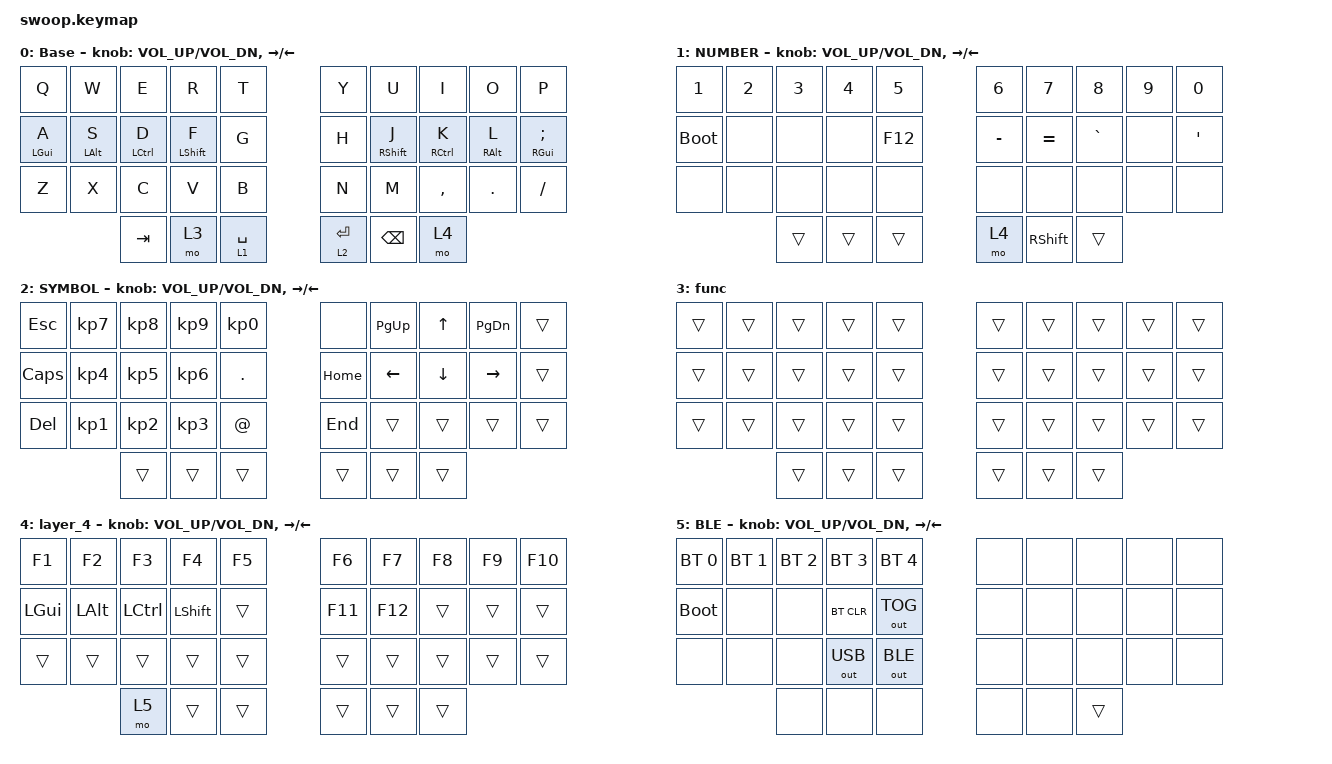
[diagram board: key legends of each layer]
/*
 * Copyright (c) 2020 duckyb
 *
 * SPDX-License-Identifier: MIT
 */

#include <behaviors.dtsi>
#include <dt-bindings/zmk/bt.h>
#include <dt-bindings/zmk/keys.h>
#include <dt-bindings/zmk/outputs.h>

/ {
    behaviors {
        tab_esc_ctrl: tab_esc_ctrl {
            compatible = "zmk,behavior-tap-dance";
            label = "TAB_ESC_CTRL";
            #binding-cells = <0>;
            bindings = <&mt LCTRL ESC>, <&kp TAB>;
        };

        gqt: global-quick-tap {
            compatible = "zmk,behavior-hold-tap";
            label = "GLOBAL_QUICK_TAP";
            bindings = <&kp>, <&kp>;

            #binding-cells = <2>;
            quick-tap-ms = <180>;
            tapping-term-ms = <200>;
            global-quick-tap;
            flavor = "tap-preferred";
        };

        ltq: ltq {
            compatible = "zmk,behavior-hold-tap";
            label = "LTQ";
            bindings = <&mo>, <&kp>;

            #binding-cells = <2>;
            global-quick-tap;
            tapping-term-ms = <200>;
            quick-tap-ms = <180>;
        };
    };

    combos {
        compatible = "zmk,combos";

        left_bkt {
            bindings = <&kp LBKT>;
            key-positions = <3 2>;
            timeout-ms = <50>;
        };

        right_bkt {
            bindings = <&kp RBKT>;
            key-positions = <6 7>;
            timeout-ms = <50>;
        };

        left_par {
            bindings = <&kp LEFT_PARENTHESIS>;
            key-positions = <12 13>;
            timeout-ms = <50>;
        };

        right_par {
            bindings = <&kp RIGHT_PARENTHESIS>;
            key-positions = <16 17>;
            timeout-ms = <50>;
        };

        left_brace {
            bindings = <&kp LEFT_BRACE>;
            key-positions = <23 22>;
            timeout-ms = <50>;
        };

        right_brace {
            bindings = <&kp RIGHT_BRACE>;
            key-positions = <26 27>;
            timeout-ms = <50>;
        };

        bac {
            bindings = <&kp BACKSLASH>;
            key-positions = <4 5>;
        };

        pipe {
            bindings = <&kp PIPE>;
            key-positions = <14 15>;
        };
    };

    keymap {
        compatible = "zmk,keymap";

        base {
            label = "Base";
            bindings = <
&kp Q            &kp W            &kp E         &kp R              &kp T          &kp Y        &kp U               &kp I         &kp O        &kp P
&gqt LEFT_GUI A  &gqt LEFT_ALT S  &gqt LCTRL D  &gqt LEFT_SHIFT F  &kp G          &kp H        &gqt RIGHT_SHIFT J  &gqt RCTRL K  &gqt RALT L  &gqt RIGHT_GUI SEMICOLON
&kp Z            &kp X            &kp C         &kp V              &kp B          &kp N        &kp M               &kp COMMA     &kp DOT      &kp FSLH
                                  &kp TAB       &mo 3              &lt 1 SPACE    &lt 2 ENTER  &kp BACKSPACE       &mo 4
            >;

            sensor-bindings = <&inc_dec_kp C_VOL_UP C_VOL_DN &inc_dec_kp RIGHT LEFT>;
        };

        number {
            label = "NUMBER";
            bindings = <
&kp N1       &kp N2  &kp N3  &kp N4  &kp N5     &kp N6     &kp N7           &kp N8     &kp N9  &kp N0
&bootloader  &none   &none   &none   &kp F12    &kp MINUS  &kp EQUAL        &kp GRAVE  &none   &kp SQT
&none        &none   &none   &none   &none      &none      &none            &none      &none   &none
                     &trans  &trans  &trans     &mo 4      &kp RIGHT_SHIFT  &trans
            >;

            sensor-bindings = <&inc_dec_kp C_VOL_UP C_VOL_DN &inc_dec_kp RIGHT LEFT>;
        };

        symbol {
            label = "SYMBOL";
            bindings = <
&kp ESC   &kp KP_NUMBER_7  &kp KP_NUMBER_8  &kp KP_NUMBER_9  &kp KP_NUMBER_0    &none     &kp PAGE_UP     &kp UP    &kp PAGE_DOWN  &trans
&kp CAPS  &kp KP_NUMBER_4  &kp KP_NUMBER_5  &kp KP_NUMBER_6  &kp DOT            &kp HOME  &kp LEFT_ARROW  &kp DOWN  &kp RIGHT      &trans
&kp DEL   &kp KP_NUMBER_1  &kp KP_NUMBER_2  &kp KP_NUMBER_3  &kp AT_SIGN        &kp END   &trans          &trans    &trans         &trans
                           &trans           &trans           &trans             &trans    &trans          &trans
            >;

            sensor-bindings = <&inc_dec_kp C_VOL_UP C_VOL_DN &inc_dec_kp RIGHT LEFT>;
        };

        func {
            bindings = <
&trans  &trans  &trans  &trans  &trans    &trans  &trans  &trans  &trans  &trans
&trans  &trans  &trans  &trans  &trans    &trans  &trans  &trans  &trans  &trans
&trans  &trans  &trans  &trans  &trans    &trans  &trans  &trans  &trans  &trans
                &trans  &trans  &trans    &trans  &trans  &trans
            >;
        };

        layer_4 {
            bindings = <
&kp F1        &kp F2        &kp F3     &kp F4          &kp F5    &kp F6   &kp F7   &kp F8  &kp F9  &kp F10
&kp LEFT_GUI  &kp LEFT_ALT  &kp LCTRL  &kp LEFT_SHIFT  &trans    &kp F11  &kp F12  &trans  &trans  &trans
&trans        &trans        &trans     &trans          &trans    &trans   &trans   &trans  &trans  &trans
                            &mo 5      &trans          &trans    &trans   &trans   &trans
            >;

            sensor-bindings = <&inc_dec_kp C_VOL_UP C_VOL_DN &inc_dec_kp RIGHT LEFT>;
        };

        ble {
            label = "BLE";
            bindings = <
&bt BT_SEL 0  &bt BT_SEL 1  &bt BT_SEL 2  &bt BT_SEL 3  &bt BT_SEL 4    &none  &none  &none   &none  &none
&bootloader   &none         &none         &bt BT_CLR    &out OUT_TOG    &none  &none  &none   &none  &none
&none         &none         &none         &out OUT_USB  &out OUT_BLE    &none  &none  &none   &none  &none
                            &none         &none         &none           &none  &none  &trans
            >;

            sensor-bindings = <&inc_dec_kp C_VOL_UP C_VOL_DN &inc_dec_kp RIGHT LEFT>;
        };
    };
};
